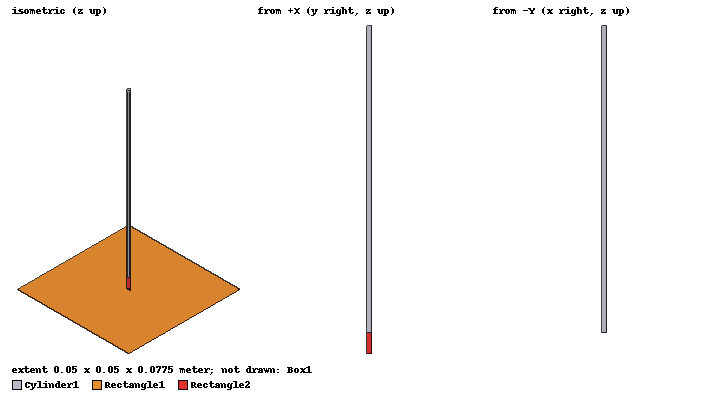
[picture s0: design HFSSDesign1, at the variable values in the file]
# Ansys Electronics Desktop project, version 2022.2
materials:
  vacuum: permittivity=1
  pec: conductivity=1e+30
  air: permittivity=1.0006 permeability=1.0000004

design HFSSDesign1 (HFSS, DrivenModal, model units meter)
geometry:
  Cylinder1 [pec] = cylinder(axis=Z, base_centre=(0meter, 0meter, 0.005meter), radius=(.07/100) meter, height=0.0725meter)
  Rectangle1 = rectangle(corner=(-0.025meter, -0.025meter, 0meter), x_size=0.05meter, y_size=0.05meter)
  Rectangle2 = rectangle(corner=(0meter, (-.07/100) meter, 0meter), y_size=(.07/50) meter, z_size=0.005meter)
  Box1 [air] = box(corner=(-0.5meter, -0.5meter, -0.5meter), size=(1meter, 1meter, 1meter))
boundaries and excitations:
  PerfE1: Perfect E Objects=Rectangle1
  Rad1: Radiation Objects=Box1
  1: Lumped Port Objects=Rectangle2 Modes{Mode1{IntLine{(0, 0, 0) -> (0, 0, 0.005)} CharImp=Zpi RenormImp=50ohm}} Impedance=50ohm
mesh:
  initial mesh: GlobalSurfApproximation{CurvedSurfaceApproxChoice=UseSlider SliderMeshSettings=1}
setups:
  Setup1: HfssDriven Frequency=1GHz MaxDeltaS=0.02 MaximumPasses=20 MinimumPasses=1 MinimumConvergedPasses=1 PercentRefinement=30 BasisOrder=1 PortAccuracy=2 DrivenSolverType="Direct Solver"
    sweep Sweep: 0.5GHz to 1.5GHz, 401 points; Type=Fast SaveFields
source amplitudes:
  1:1: 1W 0deg
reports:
  S Parameter Plot 1: dB(S(1,1)) vs Freq on Setup1 : Sweep
